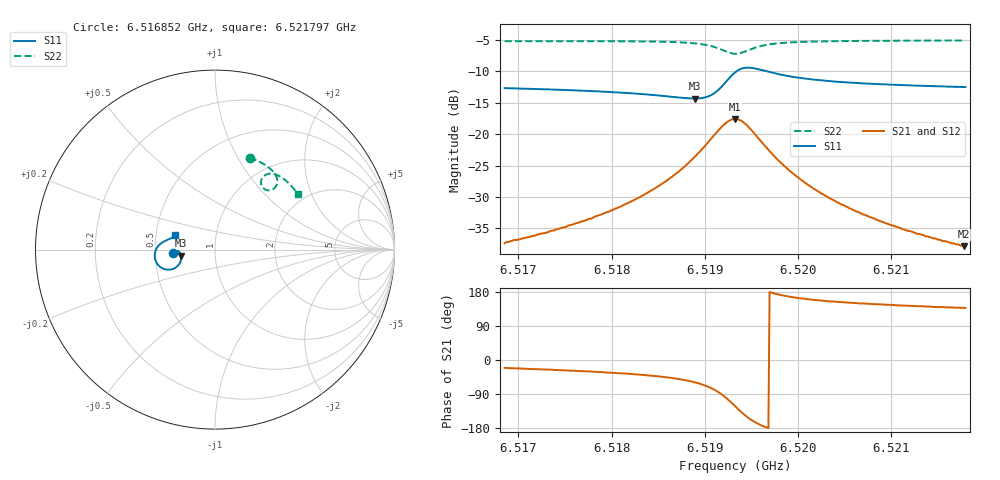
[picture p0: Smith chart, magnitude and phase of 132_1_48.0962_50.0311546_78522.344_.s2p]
#  HZ  S  RI  R  50.00
! Rohde & Schwarz Vector Network Analyzer
! Rohde-Schwarz,ZNB20-2Port,1311601062101988,3.16
! Created: UTC 12/23/2023, 3:47:51 AM
! freq[Hz]  re:S11  im:S11  re:S21  im:S21  re:S12  im:S12  re:S22  im:S22
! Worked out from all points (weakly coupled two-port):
!   401 points, 6.516852 GHz to 6.521797 GHz, reference 50 ohm
!   highest |S21| = -17.58 dB at 6.519324 GHz (marker M1); lowest = -37.8 dB at 6.521784 GHz (marker M2)
!   lowest |S11| = -14.3 dB at 6.518892 GHz (marker M3), VSWR 1.48, Z = 34 - j2.43 ohm
!   |S11| at or under -10 dB: start of sweep to 6.519341 GHz; 6.519663 GHz to end of sweep
!   |S22| runs from -7.2 to -5.1 dB; largest |S21 - S12| = 0.0041
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6.5168521e9  -0.2315 -0.0197  0.0127 -0.00478  0.0129 -0.00462  0.1927 0.513
6.5173466e9  -0.2263 -0.0124  0.0153 -0.00742  0.0154 -0.00688  0.2293 0.4984
6.5176803e9  -0.2216 -0.00844  0.0175 -0.00995  0.0179 -0.00918  0.2541 0.4861
6.5181006e9  -0.2139 -0.0057  0.0217 -0.0153  0.0222 -0.0147  0.2854 0.4673
6.5185085e9  -0.2026 -0.00961  0.0281 -0.0267  0.0292 -0.0259  0.317 0.4421
6.518731e9  -0.1944 -0.0191  0.0324 -0.0396  0.0339 -0.0388  0.3339 0.4218
6.5188917e9  -0.1888 -0.0344  0.0341 -0.0563  0.036 -0.0555  0.3445 0.4001
6.519003e9  -0.1886 -0.0529  0.031 -0.0745  0.0337 -0.0742  0.3472 0.3795
6.5190895e9  -0.1951 -0.0736  0.022 -0.0934  0.025 -0.0933  0.3433 0.3597
6.5192255e9  -0.2358 -0.1083  -0.0196 -0.1209  -0.0162 -0.1225  0.3124 0.3317
6.5193244e9  -0.2912 -0.105  -0.0692 -0.1126  -0.0664 -0.1154  0.2747 0.3382
6.5193738e9  -0.3154 -0.0873  -0.0888 -0.0945  -0.0867 -0.0978  0.2613 0.3534
6.5194356e9  -0.3324 -0.0571  -0.1008 -0.0665  -0.0995 -0.0699  0.256 0.3764
6.5195469e9  -0.3319 -0.00851  -0.095 -0.0252  -0.0951 -0.0282  0.2702 0.4078
6.5196581e9  -0.3163 0.0198  -0.0786 -0.00346  -0.0791 -0.00594  0.2925 0.4209
6.5199053e9  -0.2855 0.045  -0.0502 0.0113  -0.0511 0.00994  0.3327 0.4203
6.5201525e9  -0.2671 0.0537  -0.0351 0.0133  -0.0359 0.0125  0.3599 0.409
6.5205234e9  -0.2507 0.0608  -0.0233 0.0124  -0.0238 0.012  0.3899 0.3883
6.5209807e9  -0.2383 0.0676  -0.0158 0.0107  -0.0164 0.0106  0.4189 0.3615
6.5215123e9  -0.2279 0.075  -0.0111 0.00936  -0.0115 0.00916  0.4473 0.3293
6.5217842e9  -0.2235 0.0789  -0.00948 0.00867  -0.00987 0.00867  0.4602 0.3122
6.5217966e9  -0.2234 0.079  -0.00944 0.00877  -0.00982 0.00861  0.4609 0.3114
